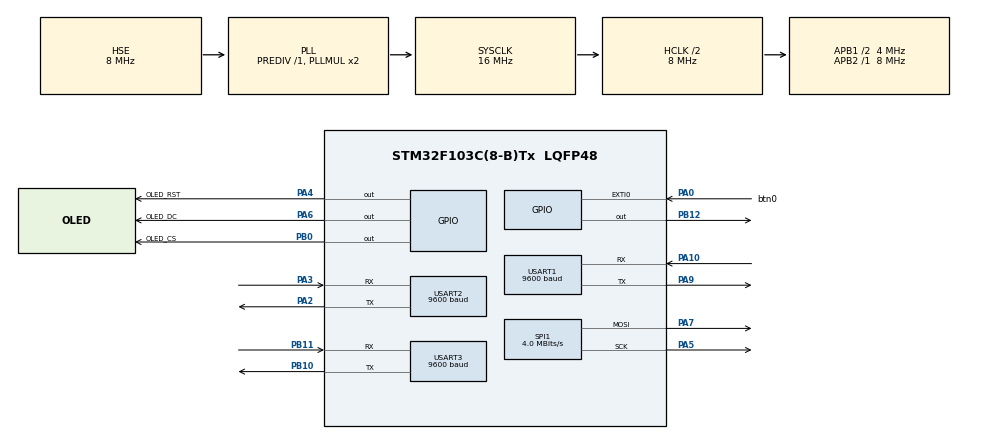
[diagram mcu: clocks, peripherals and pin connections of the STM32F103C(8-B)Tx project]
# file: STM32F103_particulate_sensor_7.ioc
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Mcu.Family=STM32F1
Mcu.Name=STM32F103C(8-B)Tx
Mcu.Package=LQFP48
NVIC.EXTI0_IRQn=true\:0\:0\:false\:true\:true\:2\:true\:true\:true
NVIC.PriorityGroup=NVIC_PRIORITYGROUP_4
NVIC.TIM2_IRQn=true\:0\:0\:false\:true\:true\:3\:true\:true\:true
NVIC.USART2_IRQn=true\:0\:0\:false\:true\:true\:1\:true\:true\:true
PA0-WKUP.GPIO_Label=btn0
PA0-WKUP.GPIO_ModeDefaultEXTI=GPIO_MODE_IT_FALLING
PA0-WKUP.GPIO_PuPd=GPIO_NOPULL
PA0-WKUP.Signal=GPXTI0
PA10.Mode=Asynchronous
PA10.Signal=USART1_RX
PA13.Mode=Serial_Wire
PA13.Signal=SYS_JTMS-SWDIO
PA14.Mode=Serial_Wire
PA14.Signal=SYS_JTCK-SWCLK
PA2.Mode=Asynchronous
PA2.Signal=USART2_TX
PA3.Mode=Asynchronous
PA3.Signal=USART2_RX
PA4.GPIO_Label=OLED_RST
PA4.GPIO_PuPd=GPIO_PULLUP
PA4.GPIO_Speed=GPIO_SPEED_FREQ_HIGH
PA4.PinState=GPIO_PIN_SET
PA4.Signal=GPIO_Output
PA5.Mode=TX_Only_Simplex_Unidirect_Master
PA5.Signal=SPI1_SCK
PA6.GPIO_Label=OLED_DC
PA6.GPIO_PuPd=GPIO_PULLUP
PA6.GPIO_Speed=GPIO_SPEED_FREQ_HIGH
PA6.PinState=GPIO_PIN_SET
PA6.Signal=GPIO_Output
PA7.Mode=TX_Only_Simplex_Unidirect_Master
PA7.Signal=SPI1_MOSI
PA9.Mode=Asynchronous
PA9.Signal=USART1_TX
PB0.GPIO_Label=OLED_CS
PB0.GPIO_PuPd=GPIO_PULLUP
PB0.GPIO_Speed=GPIO_SPEED_FREQ_HIGH
PB0.PinState=GPIO_PIN_SET
PB0.Signal=GPIO_Output
PB10.Mode=Asynchronous
PB10.Signal=USART3_TX
PB11.Mode=Asynchronous
PB11.Signal=USART3_RX
PB12.Signal=GPIO_Output
PD0-OSC_IN.Mode=HSE-External-Oscillator
PD0-OSC_IN.Signal=RCC_OSC_IN
PD1-OSC_OUT.Mode=HSE-External-Oscillator
PD1-OSC_OUT.Signal=RCC_OSC_OUT
ProjectManager.HeapSize=0x200
ProjectManager.StackSize=0x400
ProjectManager.TargetToolchain=STM32CubeIDE
RCC.AHBCLKDivider=RCC_SYSCLK_DIV2
RCC.AHBFreq_Value=8000000
RCC.APB1CLKDivider=RCC_HCLK_DIV2
RCC.APB1Freq_Value=4000000
RCC.APB1TimFreq_Value=8000000
RCC.APB2Freq_Value=8000000
RCC.APB2TimFreq_Value=8000000
RCC.HCLKFreq_Value=8000000
RCC.PLLSourceVirtual=RCC_PLLSOURCE_HSE
RCC.SYSCLKFreq_VALUE=16000000
RCC.SYSCLKSource=RCC_SYSCLKSOURCE_PLLCLK
RCC.USBFreq_Value=16000000
SPI1.BaudRatePrescaler=SPI_BAUDRATEPRESCALER_2
SPI1.CalculateBaudRate=4.0 MBits/s
SPI1.Direction=SPI_DIRECTION_2LINES
SPI1.Mode=SPI_MODE_MASTER
SPI1.VirtualType=VM_MASTER
TIM2.Period=9999
TIM2.Prescaler=47999
USART1.BaudRate=9600
USART1.VirtualMode=VM_ASYNC
USART2.BaudRate=9600
USART2.VirtualMode=VM_ASYNC
USART3.BaudRate=9600
USART3.VirtualMode=VM_ASYNC
VP_TIM2_VS_ClockSourceINT.Mode=Internal
board=custom

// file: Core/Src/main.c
/* USER CODE BEGIN Header */
/**
 ******************************************************************************
 * @file           : main.c
 * @brief          : Main program body
 ******************************************************************************
 * @attention
 *
 * Copyright (c) 2023 STMicroelectronics.
 * All rights reserved.
 *
 * This software is licensed under terms that can be found in the LICENSE file
 * in the root directory of this software component.
 * If no LICENSE file comes with this software, it is provided AS-IS.
 *
 ******************************************************************************
 */
/* USER CODE END Header */
#include "main.h"

/* USER CODE BEGIN Includes */
#include "stdio.h"
#include "stdlib.h"
#include "string.h"
#include "u8g2.h"
#include "uart.h"
/* USER CODE END Includes */

/* USER CODE BEGIN PD */
#define DURATION_TIME_HIGH 0x01
#define DURATION_TIME_LOW 0x2C
/* USER CODE END PD */

/* USER CODE BEGIN PM */
#define OLED
/* USER CODE END PM */

SPI_HandleTypeDef hspi1;

TIM_HandleTypeDef htim2;

UART_HandleTypeDef huart1;
UART_HandleTypeDef huart2;
UART_HandleTypeDef huart3;

/* USER CODE BEGIN PV */

extern ring_buffer_t uart_rx;

uint8_t buff[55];

uint8_t data;
uint8_t cmd;

uint8_t getDataCommand[5] = { 0x11, 0x02, 0x0B, 0x07, 0xDB };
uint8_t closeCommand[6] = { 0x11, 0x03, 0x0C, 0x01, 0x1E, 0xC1 };
uint8_t openCommand[6] = { 0x11, 0x03, 0x0C, 0x02, 0x1E, 0xC0 };

uint8_t timingModeSetCommand[6] = { 0x11, 0x03, 0x05, DURATION_TIME_HIGH,
DURATION_TIME_LOW, 0xBA };

volatile uint8_t btnFlag = 0;
volatile uint8_t timerFlag = 0;

/* USER CODE END PV */

void SystemClock_Config(void);
static void MX_GPIO_Init(void);
static void MX_SPI1_Init(void);
static void MX_USART1_UART_Init(void);
static void MX_USART2_UART_Init(void);
static void MX_TIM2_Init(void);
static void MX_USART3_UART_Init(void);
static void MX_NVIC_Init(void);

/* USER CODE BEGIN 0 */
extern uint8_t u8x8_stm32_gpio_and_delay(u8x8_t *u8x8, uint8_t msg,
		uint8_t arg_int, void *arg_ptr);
extern uint8_t u8x8_byte_stm32_hw_spi(u8x8_t *u8x8, uint8_t msg,
		uint8_t arg_int, void *arg_ptr);

static u8g2_t u8g2;
/* USER CODE END 0 */

int main(void)
{
  /* USER CODE BEGIN 1 */
	char str[32];
	char str2[32];
	char str3[32];
	int state = 0;
	int pre_tick = 0;
	int first = 0;
  /* USER CODE END 1 */

  /* MCU Configuration--------------------------------------------------------*/

  /* Reset of all peripherals, Initializes the Flash interface and the Systick. */
  HAL_Init();

  /* Configure the system clock */
  SystemClock_Config();

  /* Initialize all configured peripherals */
  MX_GPIO_Init();
  MX_SPI1_Init();
  MX_USART1_UART_Init();
  MX_USART2_UART_Init();
  MX_TIM2_Init();
  MX_USART3_UART_Init();

  /* Initialize interrupts */
  MX_NVIC_Init();
  /* USER CODE BEGIN 2 */
	HAL_TIM_Base_Start_IT(&htim2);
	u8g2_Setup_ssd1306_128x64_noname_f(&u8g2, U8G2_R0, u8x8_byte_stm32_hw_spi,
			u8x8_stm32_gpio_and_delay);

	u8g2_InitDisplay(&u8g2);
	u8g2_SetPowerSave(&u8g2, 0);

	u8g2_SetFont(&u8g2, u8g2_font_5x7_tr);
	u8g2_SetDisplayRotation(&u8g2, U8G2_R2);

	HAL_UART_Receive_IT(&huart3, &cmd, 1);

	/* Enable the UART Error Interrupt: (Frame error, noise error, overrun error) */
	__HAL_UART_ENABLE_IT(&huart2, UART_IT_ERR);
	/* Enable the UART Data Register not empty Interrupt */
	__HAL_UART_ENABLE_IT(&huart2, UART_IT_RXNE);
	rxBufferInit(&uart_rx);
  /* USER CODE END 2 */

  /* Infinite loop */
  /* USER CODE BEGIN WHILE */
	while (1) {

		if (timerFlag == 1) {

			state = 2;

			if (first++ > 0) {
				sprintf(str, "1 min TIMER");
				first = 1;

			} else {
				sprintf(str, "Hello :)");
			}

			u8g2_FirstPage(&u8g2);
			do {
				u8g2_DrawStrX2(&u8g2, 5, 30, str);

			} while (u8g2_NextPage(&u8g2));

		}

		else if (btnFlag == 1) {

			state = 4;
			sprintf(str, "BUTTON!");
			u8g2_FirstPage(&u8g2);
			do {
				u8g2_DrawStrX2(&u8g2, 5, 30, str);

			} while (u8g2_NextPage(&u8g2));

		}

		if (state == 1) {
			state = 3;
			sprintf(str, "MEASURING...");
			u8g2_FirstPage(&u8g2);
			do {
				u8g2_DrawStrX2(&u8g2, 5, 30, str);

			} while (u8g2_NextPage(&u8g2));

			/*
			 pre_tick = HAL_GetTick();
			 while ((HAL_GetTick() - pre_tick) < 5000)
			 ;
			 */
			memset(buff, 0, 55);
			HAL_UART_Transmit(&huart2, (uint8_t*) getDataCommand, 5, 5000);

			pre_tick = HAL_GetTick();
			while ((HAL_GetTick() - pre_tick) < 1000)
				;

			uint8_t num = uart_available(&uart_rx);
			uint8_t i;
			for (i = 0; i < num; i++) {
				int ch = pop(&uart_rx);
				if (ch != -1) {

					buff[i] = ch;
				}
			}
			HAL_UART_Transmit(&huart3, buff, num, 500);

			if ((buff[0] == 0x16 && buff[1] == 0x35)) {
				if (buff[2] == 0x0B) {
					int val = 0;
					/*
					 val |= (buff[3] << 24) | (buff[4] << 16) | (buff[5] << 8)
					 | buff[6];
					 */
					val = (buff[3] << 24) + (buff[4] << 16) + (buff[5] << 8)
							+ (buff[6]);
					sprintf(str, "PM1.0 : %d\r\n", val);
#ifndef OLED
	  					HAL_UART_Transmit(&huart1, (uint8_t*) str, sizeof(str),
	  							100);
	  #endif
					val = 0;
					val = (buff[7] << 24) + (buff[8] << 16) + (buff[9] << 8)
							+ (buff[10]);
					/*
					 val |= (buff[7] << 24) | (buff[8] << 16) | (buff[9] << 8)
					 | buff[10];
					 */
					sprintf(str2, "PM2.5 : %d\r\n", val);
#ifndef OLED
	  					HAL_UART_Transmit(&huart1, (uint8_t*) str2, sizeof(str2),
	  							5000);
	  #endif
					val = 0;
					val = (buff[11] << 24) + (buff[12] << 16) + (buff[13] << 8)
							+ (buff[14]);
					/*
					 val |= (buff[11] << 24) | (buff[12] << 16) | (buff[13] << 8)
					 | buff[14];
					 */
					sprintf(str3, "PM10 : %d\r\n", val);

#ifndef OLED
	  					HAL_UART_Transmit(&huart1, (uint8_t*) str3, sizeof(str3),
	  												5000);
	  #else
					u8g2_FirstPage(&u8g2);
					do {
						u8g2_DrawStrX2(&u8g2, 5, 15, str);
						u8g2_DrawStrX2(&u8g2, 5, 30, str2);
						u8g2_DrawStrX2(&u8g2, 5, 45, str3);
					} while (u8g2_NextPage(&u8g2));
					int pre_tick = HAL_GetTick();
					while ((HAL_GetTick() - pre_tick) < 1000)
						;

#endif

					memset(str, 0, sizeof(str));
					memset(str2, 0, sizeof(str2));
				}

			}
		}

		else if (state == 2) {
			state = 1;

			memset(buff, 0, 55);
			HAL_UART_Transmit(&huart2, (uint8_t*) openCommand, 6, 5000);
			pre_tick = HAL_GetTick();
			while ((HAL_GetTick() - pre_tick) < 1000)
				;

			uint8_t num = uart_available(&uart_rx);

			uint8_t i;

			for (i = 0; i < num; i++) {
				int ch = pop(&uart_rx);
				if (ch != -1) {
					buff[i] = ch;
				}
			}
			timerFlag = 0;
			HAL_UART_Transmit(&huart3, buff, num, 500);

		} else if (state == 3) {
			state = 0;

			memset(buff, 0, 55);
			HAL_UART_Transmit(&huart2, (uint8_t*) closeCommand, 6, 5000);
			pre_tick = HAL_GetTick();
			while ((HAL_GetTick() - pre_tick) < 1000)
				;

			uint8_t num = uart_available(&uart_rx);
			uint8_t i;

			for (i = 0; i < num; i++) {
				int ch = pop(&uart_rx);
				if (ch != -1) {
					buff[i] = ch;
				}
			}
			HAL_UART_Transmit(&huart3, buff, num, 500);
		} else if (state == 0) {

			sprintf(str, "   ^   ^");
			sprintf(str2, "     o");
			u8g2_FirstPage(&u8g2);
			do {
				u8g2_DrawStrX2(&u8g2, 5, 30, str);
				u8g2_DrawStrX2(&u8g2, 5, 45, str2);

			} while (u8g2_NextPage(&u8g2));

			pre_tick = HAL_GetTick();
			while ((HAL_GetTick() - pre_tick) < 1000)
				;

			sprintf(str, "   -   -");
			sprintf(str2, "     _");
			u8g2_FirstPage(&u8g2);
			do {
				u8g2_DrawStrX2(&u8g2, 5, 30, str);
				u8g2_DrawStrX2(&u8g2, 5, 45, str2);

			} while (u8g2_NextPage(&u8g2));

			pre_tick = HAL_GetTick();
			while ((HAL_GetTick() - pre_tick) < 1000)
				;
		} else if (state == 4) {
			state = 1;

			memset(buff, 0, 55);
			HAL_UART_Transmit(&huart2, (uint8_t*) openCommand, 6, 5000);
			pre_tick = HAL_GetTick();
			while ((HAL_GetTick() - pre_tick) < 1000)
				;

			uint8_t num = uart_available(&uart_rx);

			uint8_t i;

			for (i = 0; i < num; i++) {
				int ch = pop(&uart_rx);
				if (ch != -1) {
					buff[i] = ch;
				}
			}
			btnFlag = 0;
			HAL_UART_Transmit(&huart3, buff, num, 500);

		}

    /* USER CODE END WHILE */

	}
}

void SystemClock_Config(void)
{
  RCC_OscInitTypeDef RCC_OscInitStruct = {0};
  RCC_ClkInitTypeDef RCC_ClkInitStruct = {0};

  /** Initializes the RCC Oscillators according to the specified parameters
  * in the RCC_OscInitTypeDef structure.
  */
  RCC_OscInitStruct.OscillatorType = RCC_OSCILLATORTYPE_HSE;
  RCC_OscInitStruct.HSEState = RCC_HSE_ON;
  RCC_OscInitStruct.HSEPredivValue = RCC_HSE_PREDIV_DIV1;
  RCC_OscInitStruct.HSIState = RCC_HSI_ON;
  RCC_OscInitStruct.PLL.PLLState = RCC_PLL_ON;
  RCC_OscInitStruct.PLL.PLLSource = RCC_PLLSOURCE_HSE;
  RCC_OscInitStruct.PLL.PLLMUL = RCC_PLL_MUL2;
  if (HAL_RCC_OscConfig(&RCC_OscInitStruct) != HAL_OK)
  {
    Error_Handler();
  }

  /** Initializes the CPU, AHB and APB buses clocks
  */
  RCC_ClkInitStruct.ClockType = RCC_CLOCKTYPE_HCLK|RCC_CLOCKTYPE_SYSCLK
                              |RCC_CLOCKTYPE_PCLK1|RCC_CLOCKTYPE_PCLK2;
  RCC_ClkInitStruct.SYSCLKSource = RCC_SYSCLKSOURCE_PLLCLK;
  RCC_ClkInitStruct.AHBCLKDivider = RCC_SYSCLK_DIV2;
  RCC_ClkInitStruct.APB1CLKDivider = RCC_HCLK_DIV2;
  RCC_ClkInitStruct.APB2CLKDivider = RCC_HCLK_DIV1;

  if (HAL_RCC_ClockConfig(&RCC_ClkInitStruct, FLASH_LATENCY_0) != HAL_OK)
  {
    Error_Handler();
  }
}

/**
  * @brief NVIC Configuration.
  * @retval None
  */
static void MX_NVIC_Init(void)
{
  /* USART2_IRQn interrupt configuration */
  HAL_NVIC_SetPriority(USART2_IRQn, 0, 0);
  HAL_NVIC_EnableIRQ(USART2_IRQn);
  /* EXTI0_IRQn interrupt configuration */
  HAL_NVIC_SetPriority(EXTI0_IRQn, 0, 0);
  HAL_NVIC_EnableIRQ(EXTI0_IRQn);
  /* TIM2_IRQn interrupt configuration */
  HAL_NVIC_SetPriority(TIM2_IRQn, 0, 0);
  HAL_NVIC_EnableIRQ(TIM2_IRQn);
}

static void MX_SPI1_Init(void)
{

  /* SPI1 parameter configuration*/
  hspi1.Instance = SPI1;
  hspi1.Init.Mode = SPI_MODE_MASTER;
  hspi1.Init.Direction = SPI_DIRECTION_2LINES;
  hspi1.Init.DataSize = SPI_DATASIZE_8BIT;
  hspi1.Init.CLKPolarity = SPI_POLARITY_LOW;
  hspi1.Init.CLKPhase = SPI_PHASE_1EDGE;
  hspi1.Init.NSS = SPI_NSS_SOFT;
  hspi1.Init.BaudRatePrescaler = SPI_BAUDRATEPRESCALER_2;
  hspi1.Init.FirstBit = SPI_FIRSTBIT_MSB;
  hspi1.Init.TIMode = SPI_TIMODE_DISABLE;
  hspi1.Init.CRCCalculation = SPI_CRCCALCULATION_DISABLE;
  hspi1.Init.CRCPolynomial = 10;
  if (HAL_SPI_Init(&hspi1) != HAL_OK)
  {
    Error_Handler();
  }

}

static void MX_TIM2_Init(void)
{

  TIM_ClockConfigTypeDef sClockSourceConfig = {0};
  TIM_MasterConfigTypeDef sMasterConfig = {0};

  htim2.Instance = TIM2;
  htim2.Init.Prescaler = 47999;
  htim2.Init.CounterMode = TIM_COUNTERMODE_UP;
  htim2.Init.Period = 9999;
  htim2.Init.ClockDivision = TIM_CLOCKDIVISION_DIV1;
  htim2.Init.AutoReloadPreload = TIM_AUTORELOAD_PRELOAD_DISABLE;
  if (HAL_TIM_Base_Init(&htim2) != HAL_OK)
  {
    Error_Handler();
  }
  sClockSourceConfig.ClockSource = TIM_CLOCKSOURCE_INTERNAL;
  if (HAL_TIM_ConfigClockSource(&htim2, &sClockSourceConfig) != HAL_OK)
  {
    Error_Handler();
  }
  sMasterConfig.MasterOutputTrigger = TIM_TRGO_RESET;
  sMasterConfig.MasterSlaveMode = TIM_MASTERSLAVEMODE_DISABLE;
  if (HAL_TIMEx_MasterConfigSynchronization(&htim2, &sMasterConfig) != HAL_OK)
  {
    Error_Handler();
  }

}

static void MX_USART1_UART_Init(void)
{

  huart1.Instance = USART1;
  huart1.Init.BaudRate = 9600;
  huart1.Init.WordLength = UART_WORDLENGTH_8B;
  huart1.Init.StopBits = UART_STOPBITS_1;
  huart1.Init.Parity = UART_PARITY_NONE;
  huart1.Init.Mode = UART_MODE_TX_RX;
  huart1.Init.HwFlowCtl = UART_HWCONTROL_NONE;
  huart1.Init.OverSampling = UART_OVERSAMPLING_16;
  if (HAL_UART_Init(&huart1) != HAL_OK)
  {
    Error_Handler();
  }

}

static void MX_USART2_UART_Init(void)
{

  huart2.Instance = USART2;
  huart2.Init.BaudRate = 9600;
  huart2.Init.WordLength = UART_WORDLENGTH_8B;
  huart2.Init.StopBits = UART_STOPBITS_1;
  huart2.Init.Parity = UART_PARITY_NONE;
  huart2.Init.Mode = UART_MODE_TX_RX;
  huart2.Init.HwFlowCtl = UART_HWCONTROL_NONE;
  huart2.Init.OverSampling = UART_OVERSAMPLING_16;
  if (HAL_UART_Init(&huart2) != HAL_OK)
  {
    Error_Handler();
  }

}

static void MX_USART3_UART_Init(void)
{

  huart3.Instance = USART3;
  huart3.Init.BaudRate = 9600;
  huart3.Init.WordLength = UART_WORDLENGTH_8B;
  huart3.Init.StopBits = UART_STOPBITS_1;
  huart3.Init.Parity = UART_PARITY_NONE;
  huart3.Init.Mode = UART_MODE_TX_RX;
  huart3.Init.HwFlowCtl = UART_HWCONTROL_NONE;
  huart3.Init.OverSampling = UART_OVERSAMPLING_16;
  if (HAL_UART_Init(&huart3) != HAL_OK)
  {
    Error_Handler();
  }

}

static void MX_GPIO_Init(void)
{
  GPIO_InitTypeDef GPIO_InitStruct = {0};

  /* GPIO Ports Clock Enable */
  __HAL_RCC_GPIOD_CLK_ENABLE();
  __HAL_RCC_GPIOA_CLK_ENABLE();
  __HAL_RCC_GPIOB_CLK_ENABLE();

  /*Configure GPIO pin Output Level */
  HAL_GPIO_WritePin(GPIOA, OLED_RST_Pin|OLED_DC_Pin, GPIO_PIN_SET);

  /*Configure GPIO pin Output Level */
  HAL_GPIO_WritePin(OLED_CS_GPIO_Port, OLED_CS_Pin, GPIO_PIN_SET);

  /*Configure GPIO pin Output Level */
  HAL_GPIO_WritePin(GPIOB, GPIO_PIN_12, GPIO_PIN_RESET);

  /*Configure GPIO pin : btn0_Pin */
  GPIO_InitStruct.Pin = btn0_Pin;
  GPIO_InitStruct.Mode = GPIO_MODE_IT_FALLING;
  GPIO_InitStruct.Pull = GPIO_NOPULL;
  HAL_GPIO_Init(btn0_GPIO_Port, &GPIO_InitStruct);

  /*Configure GPIO pins : OLED_RST_Pin OLED_DC_Pin */
  GPIO_InitStruct.Pin = OLED_RST_Pin|OLED_DC_Pin;
  GPIO_InitStruct.Mode = GPIO_MODE_OUTPUT_PP;
  GPIO_InitStruct.Pull = GPIO_PULLUP;
  GPIO_InitStruct.Speed = GPIO_SPEED_FREQ_HIGH;
  HAL_GPIO_Init(GPIOA, &GPIO_InitStruct);

  /*Configure GPIO pin : OLED_CS_Pin */
  GPIO_InitStruct.Pin = OLED_CS_Pin;
  GPIO_InitStruct.Mode = GPIO_MODE_OUTPUT_PP;
  GPIO_InitStruct.Pull = GPIO_PULLUP;
  GPIO_InitStruct.Speed = GPIO_SPEED_FREQ_HIGH;
  HAL_GPIO_Init(OLED_CS_GPIO_Port, &GPIO_InitStruct);

  /*Configure GPIO pin : PB12 */
  GPIO_InitStruct.Pin = GPIO_PIN_12;
  GPIO_InitStruct.Mode = GPIO_MODE_OUTPUT_PP;
  GPIO_InitStruct.Pull = GPIO_NOPULL;
  GPIO_InitStruct.Speed = GPIO_SPEED_FREQ_LOW;
  HAL_GPIO_Init(GPIOB, &GPIO_InitStruct);

}

/* USER CODE BEGIN 4 */
void HAL_TIM_PeriodElapsedCallback(TIM_HandleTypeDef *htim) {
//GPIO PIN OUTPUT HIGH
	if (htim->Instance == htim2.Instance) {
		timerFlag = 1;

	}
}

void HAL_GPIO_EXTI_Callback(uint16_t GPIO_Pin) {
	if (GPIO_Pin == btn0_Pin) {

		btnFlag = 1;

	}
}
/* USER CODE END 4 */

void Error_Handler(void)
{
	__disable_irq();
	while (1) {
	}
}
